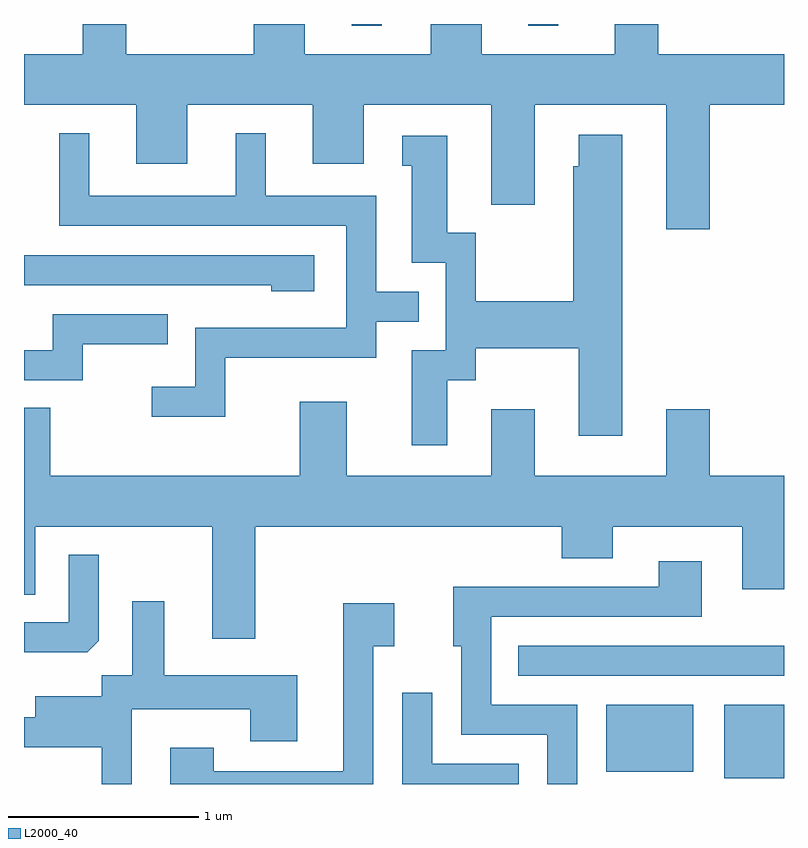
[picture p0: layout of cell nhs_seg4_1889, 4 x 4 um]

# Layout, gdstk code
import gdstk
lib = gdstk.Library(unit=1e-6, precision=1e-09)
def R(c, l, rs):  # rectangles x0, y0, x1, y1
    for r in rs: c.add(gdstk.rectangle(r[:2], r[2:], *l))
def P(c, l, *ps):  # polygons
    for p in ps: c.add(gdstk.Polygon(p, *l))
L2000_40 = (2000, 40)

nhs_seg4_1889 = lib.new_cell('nhs_seg4_1889')
R(nhs_seg4_1889, L2000_40, [(243.296,1360.011,243.611,1360.399), (242.676,1360.046,243.134,1360.399), (242.213,1360.551,243.611,1360.709), (241.336,1363.973,241.494,1363.982), (242.266,1363.973,242.424,1363.982), (239.611,1363.981,239.689,1363.982)])
P(nhs_seg4_1889, L2000_40, [(243.219,1363.556),(243.611,1363.556),(243.611,1363.824),(242.949,1363.824),(242.949,1363.982),(242.721,1363.982),(242.721,1363.824),(242.019,1363.824),(242.019,1363.982),(241.751,1363.982),(241.751,1363.824),(241.089,1363.824),(241.089,1363.982),(240.821,1363.982),(240.821,1363.824),(240.149,1363.824),(240.149,1363.982),(239.921,1363.982),(239.921,1363.824),(239.611,1363.824),(239.611,1363.556),(240.201,1363.556),(240.201,1363.246),(240.469,1363.246),(240.469,1363.556),(241.131,1363.556),(241.131,1363.246),(241.399,1363.246),(241.399,1363.556),(242.071,1363.556),(242.071,1363.031),(242.299,1363.031),(242.299,1363.556),(242.991,1363.556),(242.991,1362.901),(243.219,1362.901)],
  [(240.669,1362.226),(241.464,1362.226),(241.464,1362.416),(241.688,1362.416),(241.688,1362.574),(241.464,1362.574),(241.464,1363.079),(240.884,1363.079),(240.884,1363.408),(240.726,1363.408),(240.726,1363.079),(239.954,1363.079),(239.954,1363.408),(239.796,1363.408),(239.796,1362.921),(241.306,1362.921),(241.306,1362.384),(240.511,1362.384),(240.511,1362.074),(240.283,1362.074),(240.283,1361.916),(240.669,1361.916)],
  [(241.839,1362.106),(241.989,1362.106),(241.989,1362.276),(242.531,1362.276),(242.531,1361.816),(242.759,1361.816),(242.759,1363.399),(242.531,1363.399),(242.531,1363.234),(242.501,1363.234),(242.501,1362.524),(241.989,1362.524),(241.989,1362.884),(241.839,1362.884),(241.839,1363.394),(241.603,1363.394),(241.603,1363.236),(241.651,1363.236),(241.651,1362.726),(241.831,1362.726),(241.831,1362.264),(241.651,1362.264),(241.651,1361.766),(241.839,1361.766)],
  [(241.139,1362.764),(239.611,1362.764),(239.611,1362.606),(240.911,1362.606),(240.911,1362.576),(241.139,1362.576)],
  [(239.919,1362.296),(240.368,1362.296),(240.368,1362.454),(239.761,1362.454),(239.761,1362.264),(239.611,1362.264),(239.611,1362.106),(239.919,1362.106)],
  [(240.829,1361.336),(242.441,1361.336),(242.441,1361.171),(242.709,1361.171),(242.709,1361.336),(243.391,1361.336),(243.391,1361.006),(243.611,1361.006),(243.611,1361.604),(243.219,1361.604),(243.219,1361.954),(242.991,1361.954),(242.991,1361.604),(242.299,1361.604),(242.299,1361.954),(242.071,1361.954),(242.071,1361.604),(241.309,1361.604),(241.309,1361.994),(241.061,1361.994),(241.061,1361.604),(239.749,1361.604),(239.749,1361.963),(239.611,1361.963),(239.611,1360.978),(239.669,1360.978),(239.669,1361.336),(240.601,1361.336),(240.601,1360.746),(240.829,1360.746)],
  [(240.004,1360.737),(240.004,1361.188),(239.846,1361.188),(239.846,1360.834),(239.611,1360.834),(239.611,1360.676),(239.944,1360.676)],
  [(242.524,1360.399),(242.069,1360.399),(242.069,1360.861),(243.179,1360.861),(243.179,1361.154),(242.951,1361.154),(242.951,1361.019),(241.871,1361.019),(241.871,1360.706),(241.911,1360.706),(241.911,1360.241),(242.366,1360.241),(242.366,1359.982),(242.524,1359.982)],
  [(240.179,1360.376),(240.801,1360.376),(240.801,1360.206),(241.049,1360.206),(241.049,1360.554),(240.349,1360.554),(240.349,1360.943),(240.181,1360.943),(240.181,1360.554),(240.021,1360.554),(240.021,1360.444),(239.671,1360.444),(239.671,1360.334),(239.611,1360.334),(239.611,1360.176),(240.021,1360.176),(240.021,1359.982),(240.179,1359.982)],
  [(241.449,1360.706),(241.559,1360.706),(241.559,1360.934),(241.291,1360.934),(241.291,1360.049),(240.609,1360.049),(240.609,1360.174),(240.381,1360.174),(240.381,1359.982),(241.449,1359.982)],
  [(242.214,1360.089),(241.759,1360.089),(241.759,1360.463),(241.601,1360.463),(241.601,1359.982),(242.214,1359.982)])

lib.write_gds('nhs_seg4_1889.gds')
